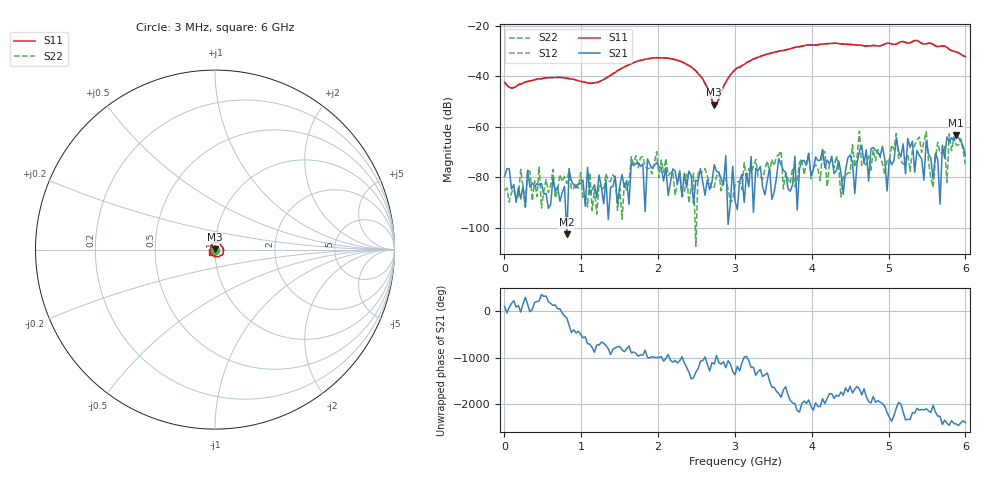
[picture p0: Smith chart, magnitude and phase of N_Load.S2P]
! C:\data\cal kit\Siglent Cal Kit\N_Load.S2P
! Touchstone 1.1 file saved by VNA.EXE V1.60 (www.ke5fx.com/gpib/readme.htm)
! 26/07/2019 10:48:47 a.m.
!  Source: HEWLETT PACKARD,8753C,0,4.12
!  Min freq: 3.000000E+006 Hz
!  Max freq: 6.000000E+009 Hz
!  Points: 201
!  Params: S11 S21 S12 S22
# GHZ S DB R 50
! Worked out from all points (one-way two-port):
!   201 points, 3 MHz to 6 GHz, reference 50 ohm
!   highest |S21| = -63.35 dB at 5.88 GHz (marker M1); lowest = -102.6 dB at 812.6 MHz (marker M2)
!   lowest |S11| = -51.2 dB at 2.732 GHz (marker M3), VSWR 1.01, Z = 49.8 + j0.216 ohm
!   |S11| at or under -10 dB: start of sweep to end of sweep
!   |S22| runs from -107.2 to -61.7 dB; largest |S21 - S12| = 0.051
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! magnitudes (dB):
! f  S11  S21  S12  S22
! 3 MHz  -42.5  -79.7  -42.3  -85.2
! 812.6 MHz  -40.8  -102.6  -40.7  -82.4
! 1.022 GHz  -42.1  -81.1  -42.2  -88.2
! 2.012 GHz  -32.7  -75.6  -32.7  -80.1
! 2.732 GHz  -51.2  -75.0  -51.2  -83.7
! 3.002 GHz  -37.5  -89.4  -37.4  -83.0
! 4.021 GHz  -27.7  -77.2  -27.7  -76.1
! 4.501 GHz  -27.4  -71.1  -27.5  -78.2
! 4.621 GHz  -27.7  -69.7  -27.8  -61.7
! 4.651 GHz  -27.8  -67.4  -27.8  -75.2
! 4.741 GHz  -28.0  -81.5  -28.0  -71.6
! 5.01 GHz  -27.0  -72.6  -27.0  -73.5
! 5.1 GHz  -27.3  -64.5  -27.3  -62.6
! 5.19 GHz  -26.2  -66.7  -26.4  -74.8
! 5.22 GHz  -26.6  -78.6  -26.5  -73.1
! 5.25 GHz  -26.9  -64.6  -26.9  -70.8
! 5.46 GHz  -27.3  -81.1  -27.2  -65.8
! 5.49 GHz  -27.2  -65.4  -27.2  -61.9
! 5.55 GHz  -27.0  -72.4  -27.0  -80.3
! 5.67 GHz  -28.1  -90.6  -28.2  -70.4
! 5.88 GHz  -30.4  -63.4  -30.3  -67.2
! 6 GHz  -32.2  -71.3  -32.3  -74.8
